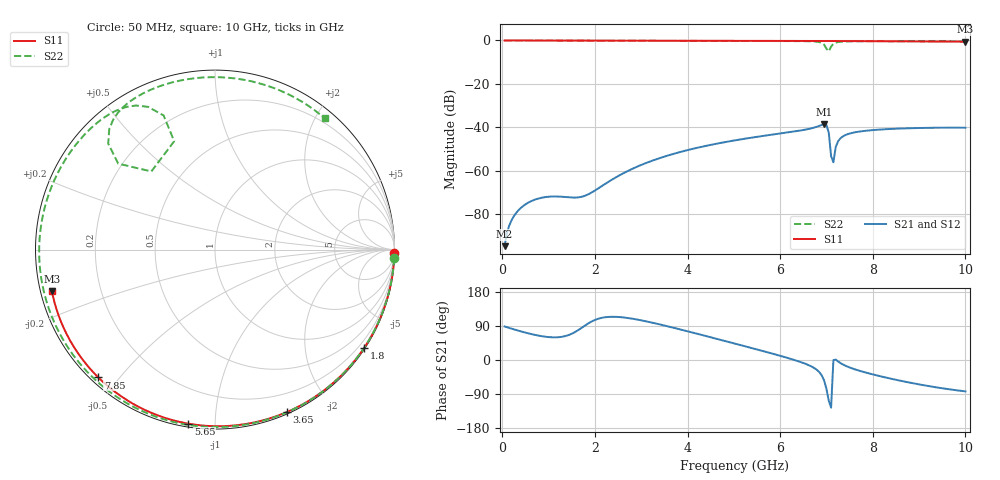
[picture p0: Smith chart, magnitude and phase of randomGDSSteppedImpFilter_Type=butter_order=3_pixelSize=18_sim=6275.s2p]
! freq	dB(S11)	phase(S11)	dB(S12)	phase(S12)
!  dB(S21)	phase(S21)	dB(S22)	phase(S22)
!S-par simulation data
#  GHz  S  DB  R 50
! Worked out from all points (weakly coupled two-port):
!   200 points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, 50 MHz to 10 GHz, reference 50 ohm
!   highest |S21| = -38.43 dB at 6.95 GHz (marker M1); lowest = -94.6 dB at 50 MHz (marker M2)
!   lowest |S11| = -0.6 dB at 10 GHz (marker M3), VSWR 31.18, Z = 1.63 - j6.26 ohm
!   |S11| at or under -10 dB: nowhere
!   |S22| runs from -5.0 to 0.0 dB; largest |S21 - S12| = 0
!   S11 on the Smith chart (normalised r, x): 50 MHz: open; 1.8 GHz: 0.03, -3.33; 3.65 GHz: 0.02, -1.54; 5.65 GHz: 0.02, -0.86; 7.85 GHz: 0.02, -0.44; 10 GHz: 0.03, -0.13
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0.05  -0.00 -1.0  -94.56 88.5  -94.56 88.5  -0.00 -2.8
0.25  -0.01 -4.7  -80.78 80.8  -80.78 80.8  -0.02 -14.0
0.55  -0.01 -10.3  -74.69 70.7  -74.69 70.7  -0.04 -30.4
0.95  -0.02 -17.8  -71.94 61.1  -71.94 61.1  -0.06 -51.2
1.75  -0.04 -32.6  -71.63 88.0  -71.63 88.0  -0.10 -88.3
1.8  -0.04 -33.5  -71.26 92.1  -71.26 92.1  -0.10 -90.4
2.6  -0.06 -47.8  -61.19 112.6  -61.19 112.6  -0.12 -120.7
3.4  -0.08 -61.8  -54.08 93.9  -54.08 93.9  -0.14 -146.1
3.65  -0.09 -66.0  -52.42 86.6  -52.42 86.6  -0.15 -153.3
5.05  -0.14 -89.1  -45.82 42.4  -45.82 42.4  -0.19 170.1
5.65  -0.17 -98.7  -43.83 22.9  -43.83 22.9  -0.22 155.3
6.7  -0.23 -114.9  -40.26 -18.6  -40.26 -18.6  -0.42 126.2
6.95  -0.24 -118.7  -38.43 -54.2  -38.43 -54.2  -1.93 111.0
7  -0.25 -119.5  -38.86 -76.4  -38.86 -76.4  -3.80 110.6
7.05  -0.25 -120.3  -42.43 -107.6  -42.43 -107.6  -5.01 129.2
7.1  -0.26 -121.0  -53.13 -125.8  -53.13 -125.8  -2.84 138.4
7.15  -0.26 -121.8  -56.02 -0.2  -56.02 -0.2  -1.53 135.2
7.2  -0.26 -122.5  -48.96 1.1  -48.96 1.1  -0.98 131.3
7.3  -0.27 -124.0  -45.03 -7.9  -45.03 -7.9  -0.59 125.4
7.85  -0.31 -132.4  -41.50 -33.2  -41.50 -33.2  -0.34 107.2
8.35  -0.36 -140.0  -40.72 -48.2  -40.72 -48.2  -0.34 93.9
10  -0.56 -165.7  -40.12 -82.8  -40.12 -82.8  -0.42 50.1
